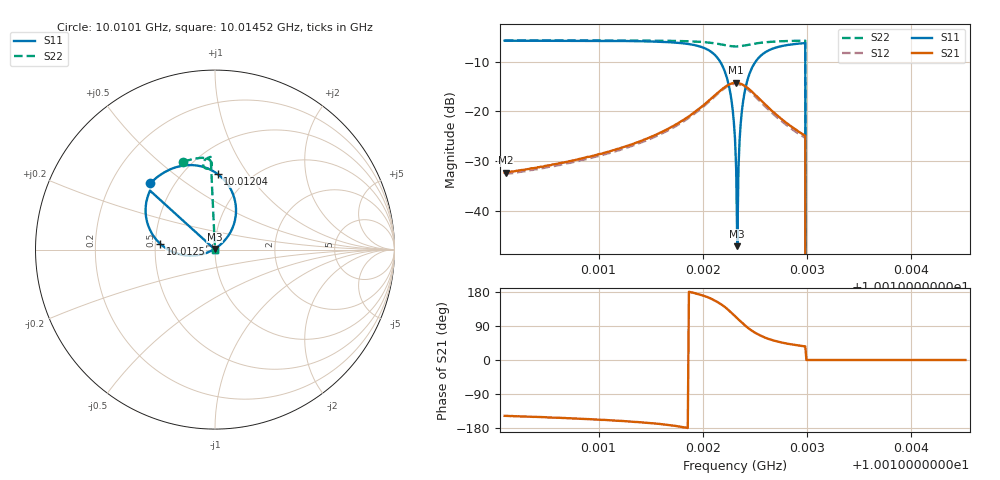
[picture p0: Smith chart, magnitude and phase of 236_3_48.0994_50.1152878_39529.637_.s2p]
#  HZ  S  RI  R  50.00
! Rohde & Schwarz Vector Network Analyzer
! Rohde-Schwarz,ZNB20-2Port,1311601062101988,3.16
! Created: UTC 12/23/2023, 3:58:17 AM
! freq[Hz]  re:S11  im:S11  re:S21  im:S21  re:S12  im:S12  re:S22  im:S22
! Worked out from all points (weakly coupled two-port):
!   401 points, 10.0101 GHz to 10.01452 GHz, reference 50 ohm
!   highest |S21| = -14.23 dB at 10.01232 GHz (marker M1); lowest = -32.4 dB at 10.01011 GHz (marker M2)
!   lowest |S11| = -47.2 dB at 10.01233 GHz (marker M3), VSWR 1.01, Z = 49.9 + j0.414 ohm
!   |S11| at or under -10 dB: 10.01217 GHz to 10.01251 GHz (338 kHz wide, 0.00338 % of centre); 10.01298 GHz to end of sweep
!   |S22| runs from - to -5.7 dB; largest |S21 - S12| = 0.0092
!   S11 on the Smith chart (normalised r, x): 10.0101 GHz: 0.37, +0.37; 10.01204 GHz: 0.72, +0.73; 10.0125 GHz: 0.53, +0.04; 10.01452 GHz: 1.00, +0.00
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1.0010098e10  -0.3608 0.3697  -0.0203 -0.013  -0.0189 -0.0135  -0.1759 0.4881
1.0010109e10  -0.3601 0.3703  -0.0203 -0.0129  -0.019 -0.0135  -0.1753 0.4885
1.0010839e10  -0.3048 0.4162  -0.0305 -0.014  -0.0286 -0.0151  -0.1277 0.5033
1.001158e10  -0.1966 0.4645  -0.0589 -0.0119  -0.0562 -0.0144  -0.0725 0.5111
1.0012044e10  0.0145 0.421  -0.1209 0.0298  -0.1188 0.0231  -0.0257 0.4955
1.0012154e10  0.0965 0.3179  -0.1374 0.077  -0.1378 0.0684  -0.0175 0.4782
1.0012232e10  0.1151 0.1852  -0.1294 0.1272  -0.132 0.119  -0.0212 0.4617
1.0012287e10  0.0723 0.0744  -0.1011 0.1638  -0.1053 0.1562  -0.0315 0.4522
1.0012298e10  0.0564 0.0538  -0.0929 0.1699  -0.0978 0.1621  -0.0342 0.4511
1.0012309e10  0.0394 0.0357  -0.0844 0.1746  -0.0892 0.1674  -0.0372 0.4503
1.001232e10  0.0192 0.0184  -0.0753 0.1791  -0.0806 0.1716  -0.0401 0.4499
1.0012331e10  -0.00139 0.00415  -0.0661 0.182  -0.0713 0.1751  -0.0432 0.4498
1.0012353e10  -0.0484 -0.0188  -0.0471 0.1856  -0.0516 0.1792  -0.049 0.451
1.0012364e10  -0.0722 -0.0261  -0.0375 0.186  -0.0417 0.1798  -0.0519 0.4521
1.0012398e10  -0.1444 -0.0338  -0.00977 0.1818  -0.0147 0.1761  -0.0589 0.457
1.0012497e10  -0.3051 0.0323  0.0445 0.1423  0.0384 0.138  -0.0666 0.4774
1.0012663e10  -0.3844 0.1841  0.0615 0.0806  0.0554 0.0795  -0.0549 0.5012
1.0012961e10  -0.3647 0.3225  0.0471 0.0351  0.0432 0.0354  -0.0263 0.5161
1.0013017e10  0 0  0 0  0 0  0 0
1.001305e10  0 0  0 0  0 0  0 0
1.001379e10  0 0  0 0  0 0  0 0
1.001452e10  0 0  0 0  0 0  0 0
